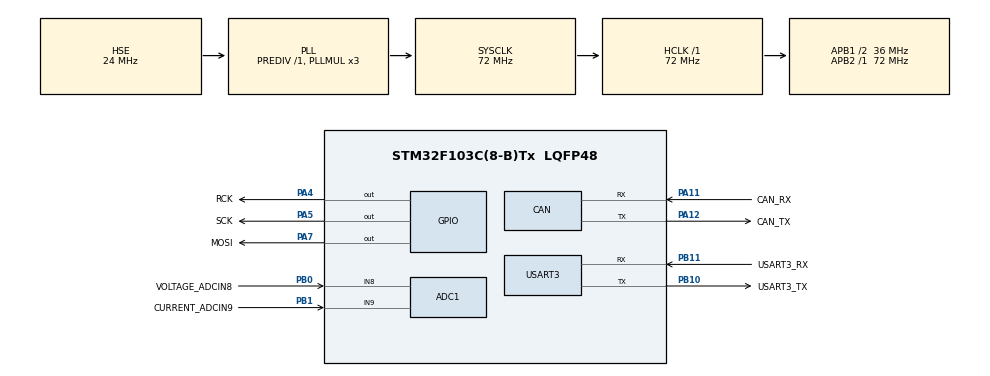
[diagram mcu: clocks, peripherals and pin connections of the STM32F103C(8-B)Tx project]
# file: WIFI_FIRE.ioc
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ADC1.Channel-0\#ChannelRegularConversion=ADC_CHANNEL_8
ADC1.Channel-1\#ChannelRegularConversion=ADC_CHANNEL_8
ADC1.ContinuousConvMode=ENABLE
ADC1.DataAlign=ADC_DATAALIGN_RIGHT
ADC1.DiscontinuousConvMode=DISABLE
ADC1.EnableAnalogWatchDog=false
ADC1.EnableRegularConversion=ENABLE
ADC1.ExternalTrigConv=ADC_SOFTWARE_START
ADC1.InjNumberOfConversion=0
ADC1.NbrOfConversion=2
ADC1.NbrOfConversionFlag=1
ADC1.Rank-0\#ChannelRegularConversion=1
ADC1.Rank-1\#ChannelRegularConversion=2
ADC1.SamplingTime-0\#ChannelRegularConversion=ADC_SAMPLETIME_1CYCLE_5
ADC1.SamplingTime-1\#ChannelRegularConversion=ADC_SAMPLETIME_1CYCLE_5
ADC1.ScanConvMode=ADC_SCAN_ENABLE
ADC1.master=1
CAN.CalculateTimeBit=1333
CAN.CalculateTimeQuantum=444.44444444444446
Dma.ADC1.0.Direction=DMA_PERIPH_TO_MEMORY
Dma.ADC1.0.Instance=DMA1_Channel1
Dma.ADC1.0.MemDataAlignment=DMA_MDATAALIGN_WORD
Dma.ADC1.0.MemInc=DMA_MINC_ENABLE
Dma.ADC1.0.Mode=DMA_CIRCULAR
Dma.ADC1.0.PeriphDataAlignment=DMA_PDATAALIGN_WORD
Dma.ADC1.0.PeriphInc=DMA_PINC_DISABLE
Dma.ADC1.0.Priority=DMA_PRIORITY_LOW
Dma.Request0=ADC1
Mcu.Family=STM32F1
Mcu.Name=STM32F103C(8-B)Tx
Mcu.Package=LQFP48
NVIC.ADC1_2_IRQn=true\:2\:0\:true\:false\:true\:true
NVIC.DMA1_Channel1_IRQn=true\:0\:0\:false\:false\:true\:false
NVIC.PriorityGroup=NVIC_PRIORITYGROUP_4
NVIC.USART3_IRQn=true\:2\:0\:true\:false\:true\:true
PA11.GPIO_Label=CAN_RX
PA11.Mode=Master
PA11.Signal=CAN_RX
PA12.GPIO_Label=CAN_TX
PA12.Mode=Master
PA12.Signal=CAN_TX
PA13.Mode=Serial_Wire
PA13.Signal=SYS_JTMS-SWDIO
PA14.Mode=Serial_Wire
PA14.Signal=SYS_JTCK-SWCLK
PA4.GPIO_Label=RCK
PA4.GPIO_Speed=GPIO_SPEED_FREQ_MEDIUM
PA4.Signal=GPIO_Output
PA5.GPIO_Label=SCK
PA5.Signal=GPIO_Output
PA7.GPIO_Label=MOSI
PA7.Signal=GPIO_Output
PB0.GPIO_Label=VOLTAGE_ADCIN8
PB0.Signal=ADCx_IN8
PB1.GPIO_Label=CURRENT_ADCIN9
PB1.Signal=ADCx_IN9
PB10.GPIO_Label=USART3_TX
PB10.Mode=Asynchronous
PB10.Signal=USART3_TX
PB11.GPIO_Label=USART3_RX
PB11.Mode=Asynchronous
PB11.Signal=USART3_RX
PD0-OSC_IN.Mode=HSE-External-Clock-Source
PD0-OSC_IN.Signal=RCC_OSC_IN
PD1-OSC_OUT.Mode=HSE-External-Clock-Source
PD1-OSC_OUT.Signal=RCC_OSC_OUT
ProjectManager.HeapSize=0x200
ProjectManager.StackSize=0x400
ProjectManager.TargetToolchain=MDK-ARM V5
RCC.ADCPresc=RCC_ADCPCLK2_DIV6
RCC.AHBFreq_Value=72000000
RCC.APB1CLKDivider=RCC_HCLK_DIV2
RCC.APB1Freq_Value=36000000
RCC.APB1TimFreq_Value=72000000
RCC.APB2Freq_Value=72000000
RCC.APB2TimFreq_Value=72000000
RCC.HCLKFreq_Value=72000000
RCC.HSE_VALUE=24000000
RCC.PLLMUL=RCC_PLL_MUL3
RCC.PLLSourceVirtual=RCC_PLLSOURCE_HSE
RCC.SYSCLKFreq_VALUE=72000000
RCC.SYSCLKSource=RCC_SYSCLKSOURCE_PLLCLK
RCC.USBFreq_Value=72000000
SH.ADCx_IN8.0=ADC1_IN8,IN8
SH.ADCx_IN9.0=ADC1_IN9,IN9
USART3.VirtualMode=VM_ASYNC
board=WIFI_FIRE

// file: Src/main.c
/**
  ******************************************************************************
  * File Name          : main.c
  * Description        : Main program body
  ******************************************************************************
  ** This notice applies to any and all portions of this file
  * that are not between comment pairs USER CODE BEGIN and
  * USER CODE END. Other portions of this file, whether
  * inserted by the user or by software development tools
  * are owned by their respective copyright owners.
  *
  * COPYRIGHT(c) 2019 STMicroelectronics
  *
  * Redistribution and use in source and binary forms, with or without modification,
  * are permitted provided that the following conditions are met:
  *   1. Redistributions of source code must retain the above copyright notice,
  *      this list of conditions and the following disclaimer.
  *   2. Redistributions in binary form must reproduce the above copyright notice,
  *      this list of conditions and the following disclaimer in the documentation
  *      and/or other materials provided with the distribution.
  *   3. Neither the name of STMicroelectronics nor the names of its contributors
  *      may be used to endorse or promote products derived from this software
  *      without specific prior written permission.
  *
  * THIS SOFTWARE IS PROVIDED BY THE COPYRIGHT HOLDERS AND CONTRIBUTORS "AS IS"
  * AND ANY EXPRESS OR IMPLIED WARRANTIES, INCLUDING, BUT NOT LIMITED TO, THE
  * IMPLIED WARRANTIES OF MERCHANTABILITY AND FITNESS FOR A PARTICULAR PURPOSE ARE
  * DISCLAIMED. IN NO EVENT SHALL THE COPYRIGHT HOLDER OR CONTRIBUTORS BE LIABLE
  * FOR ANY DIRECT, INDIRECT, INCIDENTAL, SPECIAL, EXEMPLARY, OR CONSEQUENTIAL
  * DAMAGES (INCLUDING, BUT NOT LIMITED TO, PROCUREMENT OF SUBSTITUTE GOODS OR
  * SERVICES; LOSS OF USE, DATA, OR PROFITS; OR BUSINESS INTERRUPTION) HOWEVER
  * CAUSED AND ON ANY THEORY OF LIABILITY, WHETHER IN CONTRACT, STRICT LIABILITY,
  * OR TORT (INCLUDING NEGLIGENCE OR OTHERWISE) ARISING IN ANY WAY OUT OF THE USE
  * OF THIS SOFTWARE, EVEN IF ADVISED OF THE POSSIBILITY OF SUCH DAMAGE.
  *
  ******************************************************************************
  */

#include "main.h"
#include "stm32f1xx_hal.h"
#include "adc.h"
#include "can.h"
#include "dma.h"
#include "usart.h"
#include "gpio.h"

/* USER CODE BEGIN Includes */
#include "config.h"
#include "74hc595.h"
#include "math.h"
/* USER CODE END Includes */

/* USER CODE BEGIN PV */
/* Private variables ---------------------------------------------------------*/

#define MAX_CUR 180		//最大电流值
#define MAX_VOL 70		//最大电压值
u8 ERROR_FLG=0;	 		//超最大值报警

u8 Num[8]="        ";			//荧光管显示的字符变量

/* USER CODE END PV */

void SystemClock_Config(void);

/* USER CODE BEGIN PFP */
/* Private function prototypes -----------------------------------------------*/

uint32_t ADC_Value[100];
uint8_t i;
uint32_t ad1,ad2;

/* USER CODE END PFP */

int main(void)
{

  /* USER CODE BEGIN 1 */
  u16 counter=0;
  u16 tmp;
  u16 current,voltage;
  u16 CurErr=0;				//电流误差
  u16 VolErr=0;
  u16 cur_temp[5]={0};
  u16 vol_temp[5]={0};
  u8 cur_length,vol_length;
  u8 i=0;
  /* USER CODE END 1 */

  /* MCU Configuration----------------------------------------------------------*/

  /* Reset of all peripherals, Initializes the Flash interface and the Systick. */
  HAL_Init();

  /* Configure the system clock */
  SystemClock_Config();

  /* Initialize all configured peripherals */
  MX_GPIO_Init();
  MX_DMA_Init();
  MX_CAN_Init();
  MX_USART3_UART_Init();
  MX_ADC1_Init();

  /* USER CODE BEGIN 2 */
  HC595Init();			//初始化74HC595
  HAL_ADC_Start_DMA(&hadc1, (uint32_t*)&ADC_Value, 100);
  Num[four_pos]='a';
  Num[seven_pos]='u';
  printf("Init Ok\r\n");
  /* USER CODE END 2 */

  /* Infinite loop */
  while (1)
  {

  /* USER CODE BEGIN 3 */
   counter++;
   if(2000==counter)
   {
	   counter=0;									//计数器清零

	   for(i = 1,ad1 =0,ad2=0; i < 100;i=i+2)
	   {
//			ad1 += ADC_Value[i];
			ad2 += ADC_Value[i];
	   }
//	   ad1 /= 50;
	   ad2 /= 50;

	   current=ad1;
//	   current=Get_Adc(ADC_CHANNEL_8);
	   current=(current*200/1024)+CurErr;			//量程换算
	   voltage=ad2;
//	   voltage=Get_Adc(ADC_CHANNEL_9);

	   voltage=(voltage*80/1024)+VolErr;
	   if(current>MAX_CUR || voltage>MAX_VOL)
	   {
		   ERROR_FLG=1;
		   break;
	   }

	   ResolveNumBit(current,cur_temp,&cur_length);	 //取每一位
	   switch(cur_length)
	   {
		   case 0x01:
		       Num[one_pos]=' ';
			   Num[two_pos]=' ';
			   Num[three_pos]=cur_temp[0];
			   break;
		   case 0x02:
			   Num[one_pos]=' ';
			   Num[two_pos]=cur_temp[1];
		       Num[three_pos]=cur_temp[0];
			   break;
		   case 0x03:
			   Num[one_pos]=cur_temp[2];
			   Num[two_pos]=cur_temp[1];
		       Num[three_pos]=cur_temp[0];
			   break;
		   default:
		       Num[one_pos]='-';
			   Num[two_pos]='-';
			   Num[three_pos]='-';
			   break;
	   }
	   ResolveNumBit(voltage,vol_temp,&vol_length);	//取每一位
	   switch(vol_length)
	   {
		   case 1:
		       Num[five_pos]=' ';
			   Num[six_pos]=vol_temp[0];
			   break;
		   case 2:
			   Num[five_pos]=vol_temp[1];
			   Num[six_pos]=vol_temp[0];
			   break;
		   default:
		       Num[five_pos]='-';
			   Num[six_pos]='-';
			   break;
	   }
	   printf("cur: %d A \t vol: %d V\r\n",current,voltage);

   }
   DispNum(Num);	//数码管显示

  }
  /* USER CODE END 3 */

}

/** System Clock Configuration
*/
void SystemClock_Config(void)
{

  RCC_OscInitTypeDef RCC_OscInitStruct;
  RCC_ClkInitTypeDef RCC_ClkInitStruct;
  RCC_PeriphCLKInitTypeDef PeriphClkInit;

    /**Initializes the CPU, AHB and APB busses clocks
    */
  RCC_OscInitStruct.OscillatorType = RCC_OSCILLATORTYPE_HSE;
  RCC_OscInitStruct.HSEState = RCC_HSE_BYPASS;
  RCC_OscInitStruct.HSEPredivValue = RCC_HSE_PREDIV_DIV1;
  RCC_OscInitStruct.HSIState = RCC_HSI_ON;
  RCC_OscInitStruct.PLL.PLLState = RCC_PLL_ON;
  RCC_OscInitStruct.PLL.PLLSource = RCC_PLLSOURCE_HSE;
  RCC_OscInitStruct.PLL.PLLMUL = RCC_PLL_MUL3;
  if (HAL_RCC_OscConfig(&RCC_OscInitStruct) != HAL_OK)
  {
    _Error_Handler(__FILE__, __LINE__);
  }

    /**Initializes the CPU, AHB and APB busses clocks
    */
  RCC_ClkInitStruct.ClockType = RCC_CLOCKTYPE_HCLK|RCC_CLOCKTYPE_SYSCLK
                              |RCC_CLOCKTYPE_PCLK1|RCC_CLOCKTYPE_PCLK2;
  RCC_ClkInitStruct.SYSCLKSource = RCC_SYSCLKSOURCE_PLLCLK;
  RCC_ClkInitStruct.AHBCLKDivider = RCC_SYSCLK_DIV1;
  RCC_ClkInitStruct.APB1CLKDivider = RCC_HCLK_DIV2;
  RCC_ClkInitStruct.APB2CLKDivider = RCC_HCLK_DIV1;

  if (HAL_RCC_ClockConfig(&RCC_ClkInitStruct, FLASH_LATENCY_2) != HAL_OK)
  {
    _Error_Handler(__FILE__, __LINE__);
  }

  PeriphClkInit.PeriphClockSelection = RCC_PERIPHCLK_ADC;
  PeriphClkInit.AdcClockSelection = RCC_ADCPCLK2_DIV6;
  if (HAL_RCCEx_PeriphCLKConfig(&PeriphClkInit) != HAL_OK)
  {
    _Error_Handler(__FILE__, __LINE__);
  }

    /**Configure the Systick interrupt time
    */
  HAL_SYSTICK_Config(HAL_RCC_GetHCLKFreq()/1000);

    /**Configure the Systick
    */
  HAL_SYSTICK_CLKSourceConfig(SYSTICK_CLKSOURCE_HCLK);

  /* SysTick_IRQn interrupt configuration */
  HAL_NVIC_SetPriority(SysTick_IRQn, 0, 0);
}

void _Error_Handler(char * file, int line)
{
  while(1)
  {
  }
}

/************************ (C) COPYRIGHT STMicroelectronics *****END OF FILE****/
